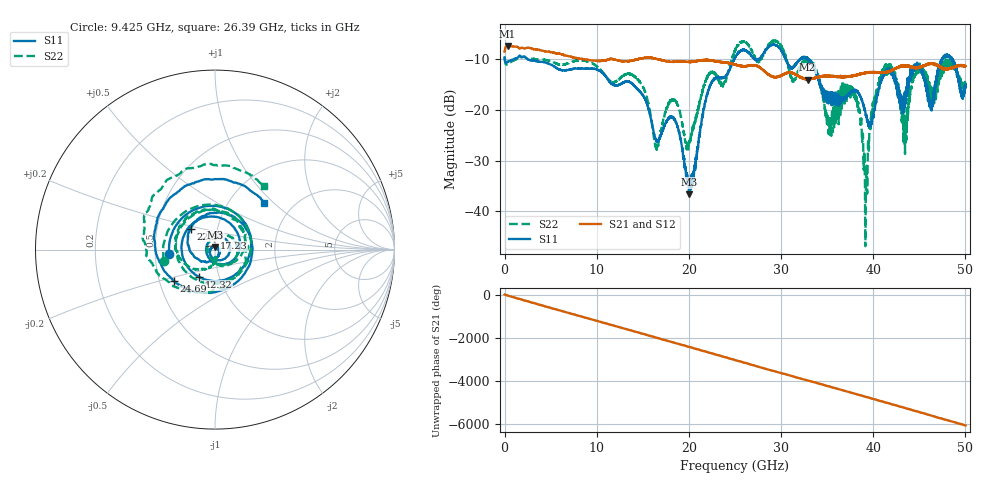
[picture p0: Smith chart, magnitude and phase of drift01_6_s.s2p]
!Created with skrf (http://scikit-rf.org).
# Hz S RI R 50.0
!freq ReS11 ImS11 ReS21 ImS21 ReS12 ImS12 ReS22 ImS22
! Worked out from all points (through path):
!   10001 points, 300 kHz to 50 GHz, reference 50 ohm
!   highest |S21| = -7.33 dB at 325.3 MHz (marker M1); lowest = -14.0 dB at 32.87 GHz (marker M2)
!   group delay of S21, straight-line fit = 335 ps
!   lowest |S11| = -36.6 dB at 20.01 GHz (marker M3), VSWR 1.03, Z = 49.9 + j1.47 ohm
!   |S11| at or under -10 dB: 2.554 GHz to 24.9 GHz (22.35 GHz wide, 163 % of centre); 30.5 GHz to 32.02 GHz (1.515 GHz wide, 4.85 % of centre); 33.04 GHz to 47.43 GHz (14.39 GHz wide, 35.8 % of centre) (the widest 3 of 24)
!   |S22| runs from -46.9 to -6.2 dB; largest |S21 - S12| = 0.0077
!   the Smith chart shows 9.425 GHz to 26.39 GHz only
!   S11 on the Smith chart (normalised r, x): 9.425 GHz: 0.59, -0.03; 12.32 GHz: 0.80, -0.25; 17.23 GHz: 0.98, +0.13; 22.37 GHz: 0.74, +0.18; 24.69 GHz: 0.60, -0.23; 26.39 GHz: 1.46, +0.86
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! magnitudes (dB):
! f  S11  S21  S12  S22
! 300 kHz  -9.6  -8.4  -8.5  -9.6
! 325.3 MHz  -10.5  -7.3  -7.3  -10.9
! 8.335 GHz  -11.8  -9.9  -9.9  -10.2
! 9.425 GHz  -11.8  -10.2  -10.2  -10.7
! 12.32 GHz  -15.1  -10.2  -10.2  -14.1
! 16.67 GHz  -26.2  -10.0  -10.0  -27.0
! 17.23 GHz  -23.6  -10.2  -10.2  -21.7
! 20.01 GHz  -36.6  -10.5  -10.5  -26.4
! 22.37 GHz  -14.9  -10.2  -10.2  -12.6
! 24.69 GHz  -10.8  -10.9  -10.8  -9.8
! 25 GHz  -9.6  -11.0  -11.0  -8.3
! 26.39 GHz  -8.5  -11.3  -11.3  -7.0
! 32.87 GHz  -9.8  -14.0  -13.9  -9.8
! 33.34 GHz  -10.8  -13.8  -13.8  -10.7
! 35.22 GHz  -17.6  -13.3  -13.3  -22.1
! 37.97 GHz  -16.1  -13.2  -13.2  -16.9
! 39.17 GHz  -20.7  -12.6  -12.6  -42.7
! 40.14 GHz  -20.0  -12.5  -12.6  -17.8
! 41.67 GHz  -12.2  -12.4  -12.4  -11.7
! 43.37 GHz  -18.0  -11.2  -11.3  -23.3
! 44.84 GHz  -11.0  -11.6  -11.6  -12.0
! 50 GHz  -15.3  -11.3  -11.4  -14.9
